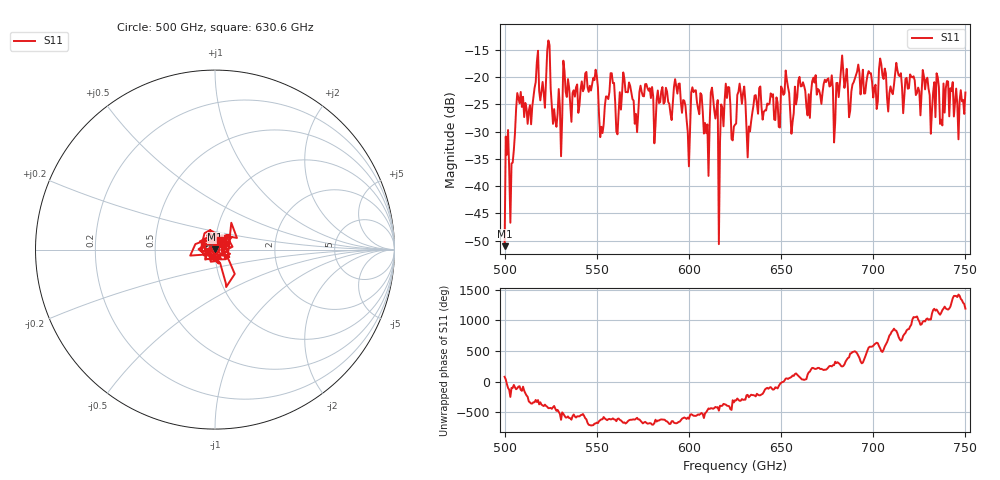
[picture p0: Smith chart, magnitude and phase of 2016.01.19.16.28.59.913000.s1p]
!Created with skrf (http://scikit-rf.org).
# GHz S RI R 50.0
!freq ReS11 ImS11
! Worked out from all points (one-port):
!   401 points, 500 GHz to 750 GHz, reference 50 ohm
!   lowest |S11| = -51.0 dB at 500 GHz (marker M1), VSWR 1.01, Z = 50.1 + j0.276 ohm
!   |S11| at or under -10 dB: start of sweep to end of sweep
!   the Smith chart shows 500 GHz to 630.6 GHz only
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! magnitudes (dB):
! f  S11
! 500 GHz  -51.0
! 507.5 GHz  -23.8
! 513.8 GHz  -25.1
! 523.8 GHz  -13.2
! 526.9 GHz  -25.9
! 531.2 GHz  -27.4
! 548.8 GHz  -20.5
! 552.5 GHz  -29.1
! 558.1 GHz  -19.3
! 562.5 GHz  -22.8
! 593.8 GHz  -23.0
! 599.4 GHz  -30.1
! 602.5 GHz  -22.7
! 609.4 GHz  -30.3
! 613.1 GHz  -23.8
! 617.5 GHz  -25.0
! 620.6 GHz  -23.8
! 625 GHz  -28.7
! 627.5 GHz  -21.2
! 632.5 GHz  -29.0
! 637.5 GHz  -26.7
! 648.1 GHz  -24.6
! 653.1 GHz  -20.5
! 656.2 GHz  -28.2
! 660.6 GHz  -21.7
! 687.5 GHz  -26.1
! 718.8 GHz  -22.1
! 750 GHz  -22.8
